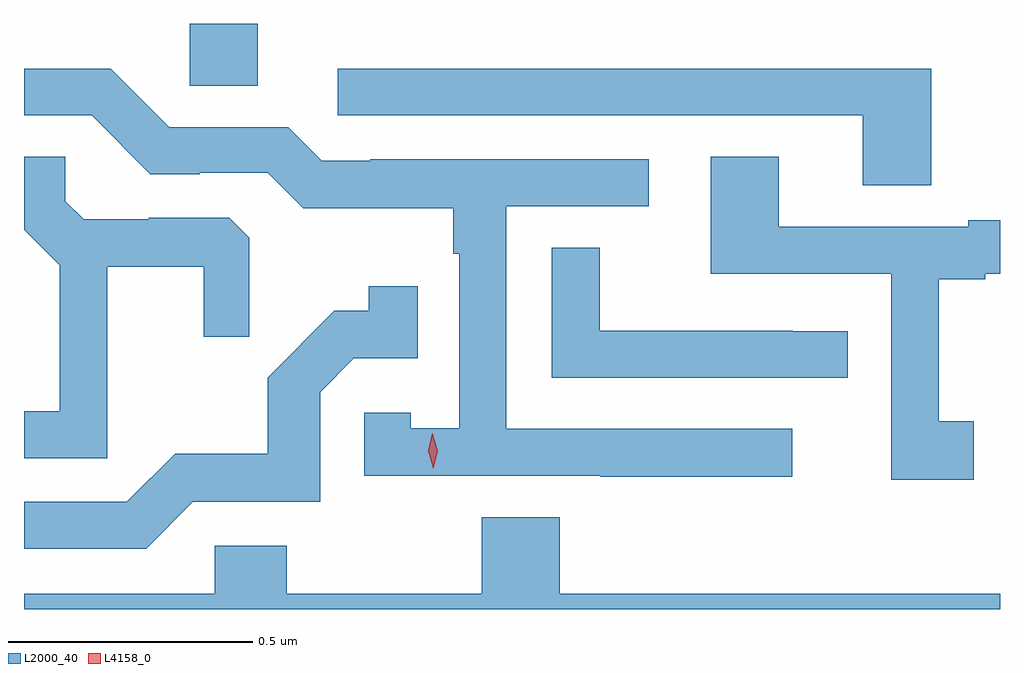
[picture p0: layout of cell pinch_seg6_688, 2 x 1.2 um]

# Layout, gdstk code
import gdstk
lib = gdstk.Library(unit=1e-6, precision=1e-09)
def R(c, l, rs):  # rectangles x0, y0, x1, y1
    for r in rs: c.add(gdstk.rectangle(r[:2], r[2:], *l))
def P(c, l, *ps):  # polygons
    for p in ps: c.add(gdstk.Polygon(p, *l))
L2000_40 = (2000, 40)
L4158_0 = (4158, 0)

pinch_seg6_688 = lib.new_cell('pinch_seg6_688')
R(pinch_seg6_688, L2000_40, [(447.894,916.573,448.033,916.7)])
P(pinch_seg6_688, L2000_40, [(449.413,916.608),(448.197,916.608),(448.197,916.512),(449.273,916.512),(449.273,916.369),(449.413,916.369)],
  [(449.128,915.87),(448.542,915.87),(448.542,916.326),(448.834,916.326),(448.834,916.422),(448.264,916.422),(448.264,916.419),(448.164,916.419),(448.095,916.488),(447.852,916.488),(447.732,916.608),(447.554,916.608),(447.554,916.512),(447.693,916.512),(447.813,916.392),(447.914,916.392),(447.914,916.395),(448.053,916.395),(448.126,916.322),(448.434,916.322),(448.434,916.229),(448.446,916.229),(448.446,915.871),(448.347,915.871),(448.347,915.903),(448.251,915.903),(448.251,915.774),(448.735,915.774),(448.735,915.772),(449.128,915.772)],
  [(449.5,915.885),(449.428,915.885),(449.428,916.176),(449.524,916.176),(449.524,916.188),(449.554,916.188),(449.554,916.297),(449.489,916.297),(449.489,916.284),(449.101,916.284),(449.101,916.427),(448.961,916.427),(448.961,916.188),(449.331,916.188),(449.331,915.765),(449.5,915.765)],
  [(447.725,916.202),(447.922,916.202),(447.922,916.059),(448.016,916.059),(448.016,916.261),(447.975,916.302),(447.81,916.302),(447.81,916.299),(447.676,916.299),(447.639,916.336),(447.639,916.427),(447.554,916.427),(447.554,916.278),(447.627,916.205),(447.627,915.906),(447.554,915.906),(447.554,915.81),(447.725,915.81)],
  [(449.242,916.07),(449.129,916.07),(449.129,916.071),(448.734,916.071),(448.734,916.241),(448.635,916.241),(448.635,915.975),(449.242,915.975)],
  [(447.9,915.72),(448.161,915.72),(448.161,915.945),(448.23,916.014),(448.361,916.014),(448.361,916.162),(448.26,916.162),(448.26,916.112),(448.19,916.112),(448.053,915.974),(448.053,915.819),(447.864,915.819),(447.765,915.72),(447.554,915.72),(447.554,915.624),(447.804,915.624)],
  [(449.554,915.532),(448.652,915.532),(448.652,915.689),(448.492,915.689),(448.492,915.532),(448.092,915.532),(448.092,915.63),(447.945,915.63),(447.945,915.532),(447.554,915.532),(447.554,915.5),(449.554,915.5)])
P(pinch_seg6_688, L4158_0, [(448.393,915.789),(448.393,915.789),(448.382,915.825),(448.391,915.861),(448.391,915.861),(448.391,915.861),(448.402,915.825),(448.393,915.789)])

lib.write_gds('pinch_seg6_688.gds')
